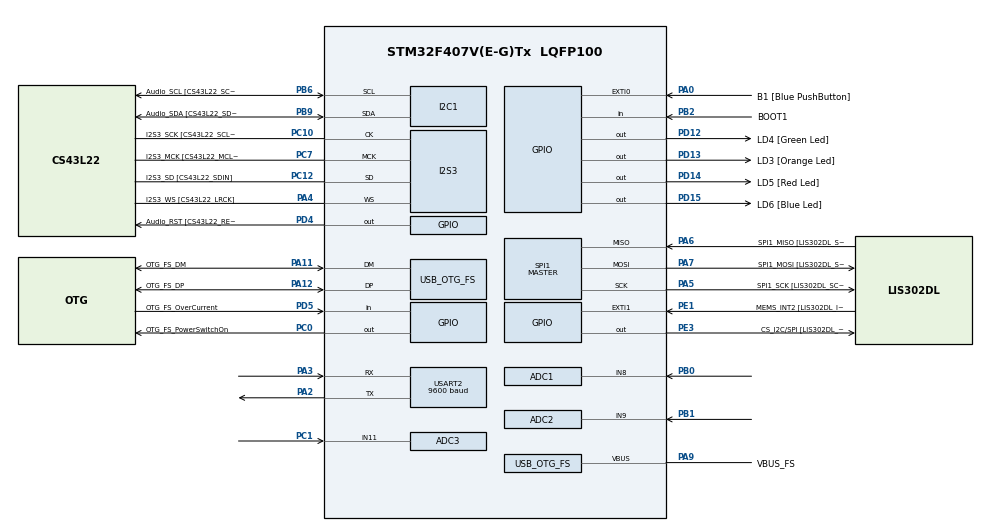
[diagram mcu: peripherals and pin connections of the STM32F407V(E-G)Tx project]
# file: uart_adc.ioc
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ADC1.Channel-0\#ChannelRegularConversion=ADC_CHANNEL_8
ADC1.ContinuousConvMode=ENABLE
ADC1.DMAContinuousRequests=ENABLE
ADC1.NbrOfConversionFlag=1
ADC1.Rank-0\#ChannelRegularConversion=1
ADC1.SamplingTime-0\#ChannelRegularConversion=ADC_SAMPLETIME_3CYCLES
ADC1.master=1
ADC2.Channel-0\#ChannelRegularConversion=ADC_CHANNEL_9
ADC2.ContinuousConvMode=ENABLE
ADC2.DMAContinuousRequests=ENABLE
ADC2.NbrOfConversionFlag=1
ADC2.Rank-0\#ChannelRegularConversion=1
ADC2.SamplingTime-0\#ChannelRegularConversion=ADC_SAMPLETIME_3CYCLES
ADC3.Channel-2\#ChannelRegularConversion=ADC_CHANNEL_11
ADC3.ContinuousConvMode=ENABLE
ADC3.DMAContinuousRequests=DISABLE
ADC3.NbrOfConversionFlag=1
ADC3.Rank-2\#ChannelRegularConversion=1
ADC3.SamplingTime-2\#ChannelRegularConversion=ADC_SAMPLETIME_3CYCLES
I2S3.AudioFreq-Half_Duplex_Master=I2S_AUDIOFREQ_96K
I2S3.ErrorAudioFreq=-2.34 %
I2S3.ErrorAudioFreq-Half_Duplex_Master=0.8 %
I2S3.FullDuplexMode=I2S_FULLDUPLEXMODE_DISABLE
I2S3.Instance=SPI$Index
I2S3.RealAudioFreq=93.75 KHz
I2S3.RealAudioFreq-Half_Duplex_Master=96.774 KHz
I2S3.VirtualMode=I2S_MODE_MASTER
Mcu.Family=STM32F1
Mcu.Name=STM32F407V(E-G)Tx
Mcu.Package=LQFP100
NVIC.OTG_FS_IRQn=true\:0\:0\:false\:false\:true\:true\:true\:true
NVIC.PriorityGroup=NVIC_PRIORITYGROUP_0
PA0-WKUP.GPIO_Label=B1 [Blue PushButton]
PA0-WKUP.GPIO_ModeDefaultEXTI=GPIO_MODE_EVT_RISING
PA0-WKUP.GPIO_PuPd=GPIO_NOPULL
PA0-WKUP.Signal=GPXTI0
PA10.GPIO_Label=OTG_FS_ID
PA10.GPIO_Mode=GPIO_MODE_AF_PP
PA10.GPIO_PuPd=GPIO_NOPULL
PA10.GPIO_Speed=GPIO_SPEED_FREQ_LOW
PA10.Signal=USB_OTG_FS_ID
PA11.GPIO_Label=OTG_FS_DM
PA11.GPIO_Mode=GPIO_MODE_AF_PP
PA11.GPIO_PuPd=GPIO_NOPULL
PA11.GPIO_Speed=GPIO_SPEED_FREQ_LOW
PA11.Mode=Host_Only
PA11.Signal=USB_OTG_FS_DM
PA12.GPIO_Label=OTG_FS_DP
PA12.GPIO_Mode=GPIO_MODE_AF_PP
PA12.GPIO_PuPd=GPIO_NOPULL
PA12.GPIO_Speed=GPIO_SPEED_FREQ_LOW
PA12.Mode=Host_Only
PA12.Signal=USB_OTG_FS_DP
PA13.GPIO_Label=SWDIO
PA13.Mode=Serial_Wire
PA13.Signal=SYS_JTMS-SWDIO
PA14.GPIO_Label=SWCLK
PA14.Mode=Serial_Wire
PA14.Signal=SYS_JTCK-SWCLK
PA2.Mode=Asynchronous
PA2.Signal=USART2_TX
PA3.Mode=Asynchronous
PA3.Signal=USART2_RX
PA4.GPIO_Label=I2S3_WS [CS43L22_LRCK]
PA4.GPIO_Mode=GPIO_MODE_AF_PP
PA4.GPIO_PuPd=GPIO_NOPULL
PA4.GPIO_Speed=GPIO_SPEED_FREQ_LOW
PA4.Mode=Half_Duplex_Master
PA4.Signal=I2S3_WS
PA5.GPIO_Label=SPI1_SCK [LIS302DL_SCL/SPC]
PA5.GPIO_Mode=GPIO_MODE_AF_PP
PA5.GPIO_PuPd=GPIO_NOPULL
PA5.GPIO_Speed=GPIO_SPEED_FREQ_LOW
PA5.Mode=Full_Duplex_Master
PA5.Signal=SPI1_SCK
PA6.GPIO_Label=SPI1_MISO [LIS302DL_SDO]
PA6.GPIO_Mode=GPIO_MODE_AF_PP
PA6.GPIO_PuPd=GPIO_NOPULL
PA6.GPIO_Speed=GPIO_SPEED_FREQ_LOW
PA6.Mode=Full_Duplex_Master
PA6.Signal=SPI1_MISO
PA7.GPIO_Label=SPI1_MOSI [LIS302DL_SDA/SDI/SDO]
PA7.GPIO_Mode=GPIO_MODE_AF_PP
PA7.GPIO_PuPd=GPIO_NOPULL
PA7.GPIO_Speed=GPIO_SPEED_FREQ_LOW
PA7.Mode=Full_Duplex_Master
PA7.Signal=SPI1_MOSI
PA9.GPIO_Label=VBUS_FS
PA9.GPIO_Mode=GPIO_MODE_INPUT
PA9.GPIO_PuPd=GPIO_NOPULL
PA9.Mode=Activate_VBUS
PA9.Signal=USB_OTG_FS_VBUS
PB0.Signal=ADCx_IN8
PB1.Signal=ADCx_IN9
PB10.GPIO_Label=CLK_IN [MP45DT02_CLK]
PB10.GPIO_Mode=GPIO_MODE_AF_PP
PB10.GPIO_PuPd=GPIO_NOPULL
PB10.GPIO_Speed=GPIO_SPEED_FREQ_LOW
PB10.Signal=I2S2_CK
PB2.GPIO_Label=BOOT1
PB2.GPIO_Mode=GPIO_MODE_INPUT
PB2.GPIO_PuPd=GPIO_NOPULL
PB2.Signal=GPIO_Input
PB3.GPIO_Label=SWO
PB3.Signal=SYS_JTDO-SWO
PB6.GPIO_Label=Audio_SCL [CS43L22_SCL]
PB6.GPIO_Mode=GPIO_MODE_AF_OD
PB6.GPIO_Pu=GPIO_PULLUP
PB6.GPIO_PuPd=GPIO_NOPULL
PB6.GPIO_Speed=GPIO_SPEED_FREQ_LOW
PB6.Mode=I2C
PB6.Signal=I2C1_SCL
PB9.GPIO_Label=Audio_SDA [CS43L22_SDA]
PB9.GPIO_Mode=GPIO_MODE_AF_OD
PB9.GPIO_Pu=GPIO_PULLUP
PB9.GPIO_PuPd=GPIO_NOPULL
PB9.GPIO_Speed=GPIO_SPEED_FREQ_LOW
PB9.Mode=I2C
PB9.Signal=I2C1_SDA
PC0.GPIO_Label=OTG_FS_PowerSwitchOn
PC0.GPIO_PuPd=GPIO_NOPULL
PC0.GPIO_Speed=GPIO_SPEED_FREQ_LOW
PC0.PinState=GPIO_PIN_SET
PC0.Signal=GPIO_Output
PC1.Signal=ADCx_IN11
PC10.GPIO_Label=I2S3_SCK [CS43L22_SCLK]
PC10.GPIO_Mode=GPIO_MODE_AF_PP
PC10.GPIO_PuPd=GPIO_NOPULL
PC10.GPIO_Speed=GPIO_SPEED_FREQ_LOW
PC10.Mode=Half_Duplex_Master
PC10.Signal=I2S3_CK
PC12.GPIO_Label=I2S3_SD [CS43L22_SDIN]
PC12.GPIO_Mode=GPIO_MODE_AF_PP
PC12.GPIO_PuPd=GPIO_NOPULL
PC12.GPIO_Speed=GPIO_SPEED_FREQ_LOW
PC12.Mode=Half_Duplex_Master
PC12.Signal=I2S3_SD
PC14-OSC32_IN.GPIO_Label=PC14-OSC32_IN
PC14-OSC32_IN.Mode=LSE-External-Oscillator
PC14-OSC32_IN.Signal=RCC_OSC32_IN
PC15-OSC32_OUT.GPIO_Label=PC15-OSC32_OUT
PC15-OSC32_OUT.Mode=LSE-External-Oscillator
PC15-OSC32_OUT.Signal=RCC_OSC32_OUT
PC3.GPIO_Label=PDM_OUT [MP45DT02_DOUT]
PC3.GPIO_Mode=GPIO_MODE_AF_PP
PC3.GPIO_PuPd=GPIO_NOPULL
PC3.GPIO_Speed=GPIO_SPEED_FREQ_LOW
PC3.Signal=I2S2_SD
PC7.GPIO_Label=I2S3_MCK [CS43L22_MCLK]
PC7.GPIO_Mode=GPIO_MODE_AF_PP
PC7.GPIO_PuPd=GPIO_NOPULL
PC7.GPIO_Speed=GPIO_SPEED_FREQ_LOW
PC7.Mode=Master_Clock_Activated
PC7.Signal=I2S3_MCK
PD12.GPIO_Label=LD4 [Green Led]
PD12.GPIO_PuPd=GPIO_NOPULL
PD12.GPIO_Speed=GPIO_SPEED_FREQ_LOW
PD12.Signal=GPIO_Output
PD13.GPIO_Label=LD3 [Orange Led]
PD13.GPIO_PuPd=GPIO_NOPULL
PD13.GPIO_Speed=GPIO_SPEED_FREQ_LOW
PD13.Signal=GPIO_Output
PD14.GPIO_Label=LD5 [Red Led]
PD14.GPIO_PuPd=GPIO_NOPULL
PD14.GPIO_Speed=GPIO_SPEED_FREQ_LOW
PD14.Signal=GPIO_Output
PD15.GPIO_Label=LD6 [Blue Led]
PD15.GPIO_PuPd=GPIO_NOPULL
PD15.GPIO_Speed=GPIO_SPEED_FREQ_LOW
PD15.Signal=GPIO_Output
PD4.GPIO_Label=Audio_RST [CS43L22_RESET]
PD4.GPIO_PuPd=GPIO_NOPULL
PD4.GPIO_Speed=GPIO_SPEED_FREQ_LOW
PD4.Signal=GPIO_Output
PD5.GPIO_Label=OTG_FS_OverCurrent
PD5.GPIO_Mode=GPIO_MODE_INPUT
PD5.GPIO_PuPd=GPIO_NOPULL
PD5.Signal=GPIO_Input
PE1.GPIO_Label=MEMS_INT2 [LIS302DL_INT2]
PE1.GPIO_ModeDefaultEXTI=GPIO_MODE_EVT_RISING
PE1.GPIO_PuPd=GPIO_NOPULL
PE1.Signal=GPXTI1
PE3.GPIO_Label=CS_I2C/SPI [LIS302DL_CS_I2C/SPI]
PE3.GPIO_PuPd=GPIO_NOPULL
PE3.GPIO_Speed=GPIO_SPEED_FREQ_LOW
PE3.Signal=GPIO_Output
PH0-OSC_IN.GPIO_Label=PH0-OSC_IN
PH0-OSC_IN.Mode=HSE-External-Oscillator
PH0-OSC_IN.Signal=RCC_OSC_IN
PH1-OSC_OUT.GPIO_Label=PH1-OSC_OUT
PH1-OSC_OUT.Mode=HSE-External-Oscillator
PH1-OSC_OUT.Signal=RCC_OSC_OUT
ProjectManager.HeapSize=0x200
ProjectManager.StackSize=0x400
ProjectManager.TargetToolchain=STM32CubeIDE
RCC.48MHZClocksFreq_Value=48000000
RCC.AHBFreq_Value=168000000
RCC.APB1CLKDivider=RCC_HCLK_DIV4
RCC.APB1Freq_Value=42000000
RCC.APB1TimFreq_Value=84000000
RCC.APB2CLKDivider=RCC_HCLK_DIV2
RCC.APB2Freq_Value=84000000
RCC.APB2TimFreq_Value=168000000
RCC.CortexFreq_Value=168000000
RCC.HCLKFreq_Value=168000000
RCC.HSE_VALUE=8000000
RCC.HSI_VALUE=16000000
RCC.PLLM=8
RCC.PLLN=336
RCC.PLLQ=7
RCC.SYSCLKFreq_VALUE=168000000
RCC.SYSCLKSource=RCC_SYSCLKSOURCE_PLLCLK
RCC.VCOOutputFreq_Value=336000000
SH.ADCx_IN11.0=ADC3_IN11,IN11
SH.ADCx_IN8.0=ADC1_IN8,IN8
SH.ADCx_IN9.0=ADC2_IN9,IN9
SPI1.BaudRatePrescaler-Full_Duplex_Master=SPI_BAUDRATEPRESCALER_2
SPI1.CalculateBaudRate-Full_Duplex_Master=42.0 MBits/s
SPI1.Direction=SPI_DIRECTION_2LINES
SPI1.Mode=SPI_MODE_MASTER
SPI1.Mode-Full_Duplex_Master=SPI_MODE_MASTER
SPI1.VirtualType=VM_MASTER
USART2.BaudRate=9600
USART2.VirtualMode=VM_ASYNC
USB_HOST.BSP.number=1
USB_HOST.USBH_HandleTypeDef-CDC_FS=hUsbHostFS
USB_HOST.VirtualModeFS=Cdc
USB_HOST0.BSP.STBoard=false
USB_HOST0.BSP.api=Unknown
USB_HOST0.BSP.instance=PC0
USB_HOST0.BSP.ip=GPIO
USB_HOST0.BSP.mode=Output
USB_HOST0.BSP.name=Drive_VBUS_FS
USB_HOST0.BSP.solution=PC0
USB_OTG_FS.VirtualMode=Host_Only
USB_OTG_FS.phy_itface=HCD_PHY_EMBEDDED
VP_USB_HOST_VS_USB_HOST_CDC_FS.Mode=CDC_FS
board=STM32F407G-DISC1

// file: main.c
/* USER CODE BEGIN Header */
/**
 ******************************************************************************
 * @file           : main.c
 * @brief          : Main program body
 ******************************************************************************
 * @attention
 *
 * Copyright (c) 2024 STMicroelectronics.
 * All rights reserved.
 *
 * This software is licensed under terms that can be found in the LICENSE file
 * in the root directory of this software component.
 * If no LICENSE file comes with this software, it is provided AS-IS.
 *
 ******************************************************************************
 */
/* USER CODE END Header */
#include "main.h"
#include "usb_host.h"

/* USER CODE BEGIN Includes */
#include "string.h"
#include "stdlib.h"
#include "stdio.h"
#include "uart_adc.h"
#include "uart_functions.h"

/* USER CODE END Includes */

ADC_HandleTypeDef hadc1;
ADC_HandleTypeDef hadc2;
ADC_HandleTypeDef hadc3;

I2C_HandleTypeDef hi2c1;

I2S_HandleTypeDef hi2s3;

SPI_HandleTypeDef hspi1;

UART_HandleTypeDef huart2;

void SystemClock_Config(void);
static void MX_GPIO_Init(void);
static void MX_I2C1_Init(void);
static void MX_I2S3_Init(void);
static void MX_SPI1_Init(void);
static void MX_ADC1_Init(void);
static void MX_ADC2_Init(void);
static void MX_ADC3_Init(void);
static void MX_USART2_UART_Init(void);
void MX_USB_HOST_Process(void);

int main(void)
{

  /* MCU Configuration--------------------------------------------------------*/

  /* Reset of all peripherals, Initializes the Flash interface and the Systick. */
  HAL_Init();

  /* Configure the system clock */
  SystemClock_Config();

  /* Initialize all configured peripherals */
  MX_GPIO_Init();
  MX_I2C1_Init();
  MX_I2S3_Init();
  MX_SPI1_Init();
  MX_USB_HOST_Init();
  MX_ADC1_Init();
  MX_ADC2_Init();
  MX_ADC3_Init();
  MX_USART2_UART_Init();

  /* Infinite loop */
	while (1) {
    MX_USB_HOST_Process();

    /* USER CODE BEGIN 3 */
		int pin = ReadInt(&huart2);
		if (pin >= 12 && pin <= 14) {
			switch (pin) {
			case 12:
				ADC_read_send_uart(pin, &hadc1, &huart2);
				break;
			case 13:
				ADC_read_send_uart(pin, &hadc2, &huart2);
				break;
			case 14:
				ADC_read_send_uart(pin, &hadc3, &huart2);
				break;
			}
		}
	}
  /* USER CODE END 3 */
}

void SystemClock_Config(void)
{
  RCC_OscInitTypeDef RCC_OscInitStruct = {0};
  RCC_ClkInitTypeDef RCC_ClkInitStruct = {0};
  RCC_PeriphCLKInitTypeDef PeriphClkInit = {0};

  /** Initializes the RCC Oscillators according to the specified parameters
  * in the RCC_OscInitTypeDef structure.
  */
  RCC_OscInitStruct.OscillatorType = RCC_OSCILLATORTYPE_HSE;
  RCC_OscInitStruct.HSEState = RCC_HSE_ON;
  RCC_OscInitStruct.PLL.PLLState = RCC_PLL_ON;
  RCC_OscInitStruct.PLL.PLLSource = RCC_PLLSOURCE_HSE;
  if (HAL_RCC_OscConfig(&RCC_OscInitStruct) != HAL_OK)
  {
    Error_Handler();
  }

  /** Initializes the CPU, AHB and APB buses clocks
  */
  RCC_ClkInitStruct.ClockType = RCC_CLOCKTYPE_HCLK|RCC_CLOCKTYPE_SYSCLK
                              |RCC_CLOCKTYPE_PCLK1|RCC_CLOCKTYPE_PCLK2;
  RCC_ClkInitStruct.SYSCLKSource = RCC_SYSCLKSOURCE_PLLCLK;
  RCC_ClkInitStruct.AHBCLKDivider = RCC_SYSCLK_DIV1;
  RCC_ClkInitStruct.APB1CLKDivider = RCC_HCLK_DIV4;
  RCC_ClkInitStruct.APB2CLKDivider = RCC_HCLK_DIV2;

  if (HAL_RCC_ClockConfig(&RCC_ClkInitStruct, FLASH_LATENCY_5) != HAL_OK)
  {
    Error_Handler();
  }
  PeriphClkInit.PeriphClockSelection = RCC_PERIPHCLK_I2S;
  if (HAL_RCCEx_PeriphCLKConfig(&PeriphClkInit) != HAL_OK)
  {
    Error_Handler();
  }
}

static void MX_ADC1_Init(void)
{

  ADC_ChannelConfTypeDef sConfig = {0};

  /** Common config
  */
  hadc1.Instance = ADC1;
  hadc1.Init.ClockPrescaler = ADC_CLOCK_SYNC_PCLK_DIV4;
  hadc1.Init.Resolution = ADC_RESOLUTION_12B;
  hadc1.Init.ScanConvMode = DISABLE;
  hadc1.Init.ContinuousConvMode = ENABLE;
  hadc1.Init.DiscontinuousConvMode = DISABLE;
  hadc1.Init.ExternalTrigConvEdge = ADC_EXTERNALTRIGCONVEDGE_NONE;
  hadc1.Init.ExternalTrigConv = ADC_SOFTWARE_START;
  hadc1.Init.DataAlign = ADC_DATAALIGN_RIGHT;
  hadc1.Init.NbrOfConversion = 1;
  hadc1.Init.DMAContinuousRequests = ENABLE;
  hadc1.Init.EOCSelection = ADC_EOC_SINGLE_CONV;
  if (HAL_ADC_Init(&hadc1) != HAL_OK)
  {
    Error_Handler();
  }

  /** Configure Regular Channel
  */
  sConfig.Channel = ADC_CHANNEL_8;
  sConfig.Rank = ADC_REGULAR_RANK_1;
  sConfig.SamplingTime = ADC_SAMPLETIME_3CYCLES;
  if (HAL_ADC_ConfigChannel(&hadc1, &sConfig) != HAL_OK)
  {
    Error_Handler();
  }

}

static void MX_ADC2_Init(void)
{

  ADC_ChannelConfTypeDef sConfig = {0};

  /** Common config
  */
  hadc2.Instance = ADC2;
  hadc2.Init.ClockPrescaler = ADC_CLOCK_SYNC_PCLK_DIV4;
  hadc2.Init.Resolution = ADC_RESOLUTION_12B;
  hadc2.Init.ScanConvMode = DISABLE;
  hadc2.Init.ContinuousConvMode = ENABLE;
  hadc2.Init.DiscontinuousConvMode = DISABLE;
  hadc2.Init.ExternalTrigConvEdge = ADC_EXTERNALTRIGCONVEDGE_NONE;
  hadc2.Init.ExternalTrigConv = ADC_SOFTWARE_START;
  hadc2.Init.DataAlign = ADC_DATAALIGN_RIGHT;
  hadc2.Init.NbrOfConversion = 1;
  hadc2.Init.DMAContinuousRequests = ENABLE;
  hadc2.Init.EOCSelection = ADC_EOC_SINGLE_CONV;
  if (HAL_ADC_Init(&hadc2) != HAL_OK)
  {
    Error_Handler();
  }

  /** Configure Regular Channel
  */
  sConfig.Channel = ADC_CHANNEL_9;
  sConfig.Rank = ADC_REGULAR_RANK_1;
  sConfig.SamplingTime = ADC_SAMPLETIME_3CYCLES;
  if (HAL_ADC_ConfigChannel(&hadc2, &sConfig) != HAL_OK)
  {
    Error_Handler();
  }

}

static void MX_ADC3_Init(void)
{

  ADC_ChannelConfTypeDef sConfig = {0};

  /** Common config
  */
  hadc3.Instance = ADC3;
  hadc3.Init.ClockPrescaler = ADC_CLOCK_SYNC_PCLK_DIV4;
  hadc3.Init.Resolution = ADC_RESOLUTION_12B;
  hadc3.Init.ScanConvMode = DISABLE;
  hadc3.Init.ContinuousConvMode = ENABLE;
  hadc3.Init.DiscontinuousConvMode = DISABLE;
  hadc3.Init.ExternalTrigConvEdge = ADC_EXTERNALTRIGCONVEDGE_NONE;
  hadc3.Init.ExternalTrigConv = ADC_SOFTWARE_START;
  hadc3.Init.DataAlign = ADC_DATAALIGN_RIGHT;
  hadc3.Init.NbrOfConversion = 1;
  hadc3.Init.DMAContinuousRequests = DISABLE;
  hadc3.Init.EOCSelection = ADC_EOC_SINGLE_CONV;
  if (HAL_ADC_Init(&hadc3) != HAL_OK)
  {
    Error_Handler();
  }

  /** Configure Regular Channel
  */
  sConfig.Channel = ADC_CHANNEL_11;
  sConfig.Rank = ADC_REGULAR_RANK_1;
  sConfig.SamplingTime = ADC_SAMPLETIME_3CYCLES;
  if (HAL_ADC_ConfigChannel(&hadc3, &sConfig) != HAL_OK)
  {
    Error_Handler();
  }

}

static void MX_I2C1_Init(void)
{

  hi2c1.Instance = I2C1;
  hi2c1.Init.ClockSpeed = 100000;
  hi2c1.Init.DutyCycle = I2C_DUTYCYCLE_2;
  hi2c1.Init.OwnAddress1 = 0;
  hi2c1.Init.AddressingMode = I2C_ADDRESSINGMODE_7BIT;
  hi2c1.Init.DualAddressMode = I2C_DUALADDRESS_DISABLE;
  hi2c1.Init.OwnAddress2 = 0;
  hi2c1.Init.GeneralCallMode = I2C_GENERALCALL_DISABLE;
  hi2c1.Init.NoStretchMode = I2C_NOSTRETCH_DISABLE;
  if (HAL_I2C_Init(&hi2c1) != HAL_OK)
  {
    Error_Handler();
  }

}

static void MX_I2S3_Init(void)
{

  hi2s3.Instance = SPI3;
  hi2s3.Init.Mode = I2S_MODE_MASTER_TX;
  hi2s3.Init.Standard = I2S_STANDARD_PHILIPS;
  hi2s3.Init.DataFormat = I2S_DATAFORMAT_16B;
  hi2s3.Init.MCLKOutput = I2S_MCLKOUTPUT_ENABLE;
  hi2s3.Init.AudioFreq = I2S_AUDIOFREQ_96K;
  hi2s3.Init.CPOL = I2S_CPOL_LOW;
  hi2s3.Init.ClockSource = I2S_CLOCK_PLL;
  hi2s3.Init.FullDuplexMode = I2S_FULLDUPLEXMODE_DISABLE;
  if (HAL_I2S_Init(&hi2s3) != HAL_OK)
  {
    Error_Handler();
  }

}

static void MX_SPI1_Init(void)
{

  /* SPI1 parameter configuration*/
  hspi1.Instance = SPI1;
  hspi1.Init.Mode = SPI_MODE_MASTER;
  hspi1.Init.Direction = SPI_DIRECTION_2LINES;
  hspi1.Init.DataSize = SPI_DATASIZE_8BIT;
  hspi1.Init.CLKPolarity = SPI_POLARITY_LOW;
  hspi1.Init.CLKPhase = SPI_PHASE_1EDGE;
  hspi1.Init.NSS = SPI_NSS_SOFT;
  hspi1.Init.BaudRatePrescaler = SPI_BAUDRATEPRESCALER_2;
  hspi1.Init.FirstBit = SPI_FIRSTBIT_MSB;
  hspi1.Init.TIMode = SPI_TIMODE_DISABLE;
  hspi1.Init.CRCCalculation = SPI_CRCCALCULATION_DISABLE;
  hspi1.Init.CRCPolynomial = 10;
  if (HAL_SPI_Init(&hspi1) != HAL_OK)
  {
    Error_Handler();
  }

}

static void MX_USART2_UART_Init(void)
{

  huart2.Instance = USART2;
  huart2.Init.BaudRate = 9600;
  huart2.Init.WordLength = UART_WORDLENGTH_8B;
  huart2.Init.StopBits = UART_STOPBITS_1;
  huart2.Init.Parity = UART_PARITY_NONE;
  huart2.Init.Mode = UART_MODE_TX_RX;
  huart2.Init.HwFlowCtl = UART_HWCONTROL_NONE;
  huart2.Init.OverSampling = UART_OVERSAMPLING_16;
  if (HAL_UART_Init(&huart2) != HAL_OK)
  {
    Error_Handler();
  }

}

static void MX_GPIO_Init(void)
{
  GPIO_InitTypeDef GPIO_InitStruct = {0};

  /* GPIO Ports Clock Enable */
  __HAL_RCC_GPIOE_CLK_ENABLE();
  __HAL_RCC_GPIOC_CLK_ENABLE();
  __HAL_RCC_GPIOH_CLK_ENABLE();
  __HAL_RCC_GPIOA_CLK_ENABLE();
  __HAL_RCC_GPIOB_CLK_ENABLE();
  __HAL_RCC_GPIOD_CLK_ENABLE();

  /*Configure GPIO pin Output Level */
  HAL_GPIO_WritePin(CS_I2C_SPI_GPIO_Port, CS_I2C_SPI_Pin, GPIO_PIN_RESET);

  /*Configure GPIO pin Output Level */
  HAL_GPIO_WritePin(OTG_FS_PowerSwitchOn_GPIO_Port, OTG_FS_PowerSwitchOn_Pin, GPIO_PIN_SET);

  /*Configure GPIO pin Output Level */
  HAL_GPIO_WritePin(GPIOD, LD4_Pin|LD3_Pin|LD5_Pin|LD6_Pin
                          |Audio_RST_Pin, GPIO_PIN_RESET);

  /*Configure GPIO pin : CS_I2C_SPI_Pin */
  GPIO_InitStruct.Pin = CS_I2C_SPI_Pin;
  GPIO_InitStruct.Mode = GPIO_MODE_OUTPUT_PP;
  GPIO_InitStruct.Pull = GPIO_NOPULL;
  GPIO_InitStruct.Speed = GPIO_SPEED_FREQ_LOW;
  HAL_GPIO_Init(CS_I2C_SPI_GPIO_Port, &GPIO_InitStruct);

  /*Configure GPIO pin : OTG_FS_PowerSwitchOn_Pin */
  GPIO_InitStruct.Pin = OTG_FS_PowerSwitchOn_Pin;
  GPIO_InitStruct.Mode = GPIO_MODE_OUTPUT_PP;
  GPIO_InitStruct.Pull = GPIO_NOPULL;
  GPIO_InitStruct.Speed = GPIO_SPEED_FREQ_LOW;
  HAL_GPIO_Init(OTG_FS_PowerSwitchOn_GPIO_Port, &GPIO_InitStruct);

  /*Configure GPIO pin : PDM_OUT_Pin */
  GPIO_InitStruct.Pin = PDM_OUT_Pin;
  GPIO_InitStruct.Mode = GPIO_MODE_AF_PP;
  GPIO_InitStruct.Pull = GPIO_NOPULL;
  GPIO_InitStruct.Speed = GPIO_SPEED_FREQ_LOW;
  GPIO_InitStruct.Alternate = GPIO_AF5_SPI2;
  HAL_GPIO_Init(PDM_OUT_GPIO_Port, &GPIO_InitStruct);

  /*Configure GPIO pin : B1_Pin */
  GPIO_InitStruct.Pin = B1_Pin;
  GPIO_InitStruct.Mode = GPIO_MODE_EVT_RISING;
  GPIO_InitStruct.Pull = GPIO_NOPULL;
  HAL_GPIO_Init(B1_GPIO_Port, &GPIO_InitStruct);

  /*Configure GPIO pin : BOOT1_Pin */
  GPIO_InitStruct.Pin = BOOT1_Pin;
  GPIO_InitStruct.Mode = GPIO_MODE_INPUT;
  GPIO_InitStruct.Pull = GPIO_NOPULL;
  HAL_GPIO_Init(BOOT1_GPIO_Port, &GPIO_InitStruct);

  /*Configure GPIO pin : CLK_IN_Pin */
  GPIO_InitStruct.Pin = CLK_IN_Pin;
  GPIO_InitStruct.Mode = GPIO_MODE_AF_PP;
  GPIO_InitStruct.Pull = GPIO_NOPULL;
  GPIO_InitStruct.Speed = GPIO_SPEED_FREQ_LOW;
  GPIO_InitStruct.Alternate = GPIO_AF5_SPI2;
  HAL_GPIO_Init(CLK_IN_GPIO_Port, &GPIO_InitStruct);

  /*Configure GPIO pins : LD4_Pin LD3_Pin LD5_Pin LD6_Pin
                           Audio_RST_Pin */
  GPIO_InitStruct.Pin = LD4_Pin|LD3_Pin|LD5_Pin|LD6_Pin
                          |Audio_RST_Pin;
  GPIO_InitStruct.Mode = GPIO_MODE_OUTPUT_PP;
  GPIO_InitStruct.Pull = GPIO_NOPULL;
  GPIO_InitStruct.Speed = GPIO_SPEED_FREQ_LOW;
  HAL_GPIO_Init(GPIOD, &GPIO_InitStruct);

  /*Configure GPIO pin : OTG_FS_OverCurrent_Pin */
  GPIO_InitStruct.Pin = OTG_FS_OverCurrent_Pin;
  GPIO_InitStruct.Mode = GPIO_MODE_INPUT;
  GPIO_InitStruct.Pull = GPIO_NOPULL;
  HAL_GPIO_Init(OTG_FS_OverCurrent_GPIO_Port, &GPIO_InitStruct);

  /*Configure GPIO pin : MEMS_INT2_Pin */
  GPIO_InitStruct.Pin = MEMS_INT2_Pin;
  GPIO_InitStruct.Mode = GPIO_MODE_EVT_RISING;
  GPIO_InitStruct.Pull = GPIO_NOPULL;
  HAL_GPIO_Init(MEMS_INT2_GPIO_Port, &GPIO_InitStruct);

}

void Error_Handler(void)
{
	__disable_irq();
	while (1) {
	}
}
